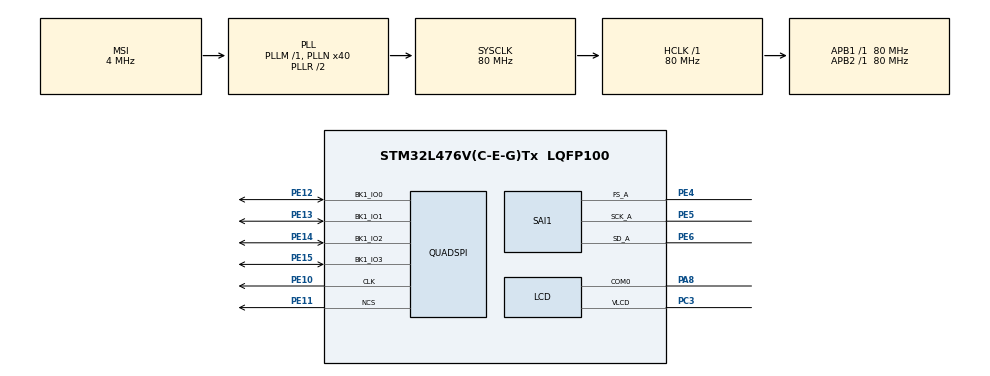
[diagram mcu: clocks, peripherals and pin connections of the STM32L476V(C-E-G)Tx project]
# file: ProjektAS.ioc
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Dma.Request0=SAI1_A
Dma.SAI1_A.0.Direction=DMA_MEMORY_TO_PERIPH
Dma.SAI1_A.0.Instance=DMA2_Channel1
Dma.SAI1_A.0.MemDataAlignment=DMA_MDATAALIGN_HALFWORD
Dma.SAI1_A.0.MemInc=DMA_MINC_ENABLE
Dma.SAI1_A.0.Mode=DMA_CIRCULAR
Dma.SAI1_A.0.PeriphDataAlignment=DMA_PDATAALIGN_HALFWORD
Dma.SAI1_A.0.PeriphInc=DMA_PINC_DISABLE
Dma.SAI1_A.0.Priority=DMA_PRIORITY_HIGH
Mcu.Family=STM32L4
Mcu.Name=STM32L476V(C-E-G)Tx
Mcu.Package=LQFP100
NVIC.DMA2_Channel1_IRQn=true\:0\:0\:false\:false\:true\:false
NVIC.PriorityGroup=NVIC_PRIORITYGROUP_4
PA8.Mode=Static
PA8.Signal=LCD_COM0
PC3.Mode=Static
PC3.Signal=LCD_VLCD
PE10.Mode=Single Bank
PE10.Signal=QUADSPI_CLK
PE11.Mode=Single Bank
PE11.Signal=QUADSPI_NCS
PE12.Mode=Single Bank
PE12.Signal=QUADSPI_BK1_IO0
PE13.Mode=Single Bank
PE13.Signal=QUADSPI_BK1_IO1
PE14.Mode=Single Bank
PE14.Signal=QUADSPI_BK1_IO2
PE15.Mode=Single Bank
PE15.Signal=QUADSPI_BK1_IO3
PE4.Mode=SAI_A_Master
PE4.Signal=SAI1_FS_A
PE5.Mode=SAI_A_Master
PE5.Signal=SAI1_SCK_A
PE6.Mode=SAI_A_Master
PE6.Signal=SAI1_SD_A
ProjectManager.HeapSize=0x200
ProjectManager.StackSize=0x400
ProjectManager.TargetToolchain=TrueSTUDIO
RCC.ADCFreq_Value=48000000
RCC.AHBFreq_Value=80000000
RCC.APB1Freq_Value=80000000
RCC.APB1TimFreq_Value=80000000
RCC.APB2Freq_Value=80000000
RCC.APB2TimFreq_Value=80000000
RCC.CortexFreq_Value=80000000
RCC.HCLKFreq_Value=80000000
RCC.HSE_VALUE=8000000
RCC.HSI_VALUE=16000000
RCC.LSE_VALUE=32768
RCC.MSI_VALUE=4000000
RCC.PLLN=40
RCC.PLLSAI1N=24
RCC.PLLSAI1P=RCC_PLLP_DIV17
RCC.PLLSAI2P=RCC_PLLP_DIV17
RCC.SYSCLKFreq_VALUE=80000000
RCC.SYSCLKSource=RCC_SYSCLKSOURCE_PLLCLK
RCC.USBFreq_Value=48000000
RCC.VCOOutputFreq_Value=160000000
SAI1.Instance-SAI_A_Master=SAI$Index_Block_A
SAI1.MClockEnable-SAI_A_Master=SAI_MASTERCLOCK_DISABLE
SAI1.Synchro-SAI_A_Master=SAI_ASYNCHRONOUS
SAI1.VirtualMode-SAI_A_Master=VM_MASTER
VP_DFSDM1_VS_IN0.Mode=Parallel_Input_ch0
board=ProjektAS

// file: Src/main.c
/**
  ******************************************************************************
  * @file           : main.c
  * @brief          : Main program body
  ******************************************************************************
  ** This notice applies to any and all portions of this file
  * that are not between comment pairs USER CODE BEGIN and
  * USER CODE END. Other portions of this file, whether
  * inserted by the user or by software development tools
  * are owned by their respective copyright owners.
  *
  * COPYRIGHT(c) 2018 STMicroelectronics
  *
  * Redistribution and use in source and binary forms, with or without modification,
  * are permitted provided that the following conditions are met:
  *   1. Redistributions of source code must retain the above copyright notice,
  *      this list of conditions and the following disclaimer.
  *   2. Redistributions in binary form must reproduce the above copyright notice,
  *      this list of conditions and the following disclaimer in the documentation
  *      and/or other materials provided with the distribution.
  *   3. Neither the name of STMicroelectronics nor the names of its contributors
  *      may be used to endorse or promote products derived from this software
  *      without specific prior written permission.
  *
  * THIS SOFTWARE IS PROVIDED BY THE COPYRIGHT HOLDERS AND CONTRIBUTORS "AS IS"
  * AND ANY EXPRESS OR IMPLIED WARRANTIES, INCLUDING, BUT NOT LIMITED TO, THE
  * IMPLIED WARRANTIES OF MERCHANTABILITY AND FITNESS FOR A PARTICULAR PURPOSE ARE
  * DISCLAIMED. IN NO EVENT SHALL THE COPYRIGHT HOLDER OR CONTRIBUTORS BE LIABLE
  * FOR ANY DIRECT, INDIRECT, INCIDENTAL, SPECIAL, EXEMPLARY, OR CONSEQUENTIAL
  * DAMAGES (INCLUDING, BUT NOT LIMITED TO, PROCUREMENT OF SUBSTITUTE GOODS OR
  * SERVICES; LOSS OF USE, DATA, OR PROFITS; OR BUSINESS INTERRUPTION) HOWEVER
  * CAUSED AND ON ANY THEORY OF LIABILITY, WHETHER IN CONTRACT, STRICT LIABILITY,
  * OR TORT (INCLUDING NEGLIGENCE OR OTHERWISE) ARISING IN ANY WAY OUT OF THE USE
  * OF THIS SOFTWARE, EVEN IF ADVISED OF THE POSSIBILITY OF SUCH DAMAGE.
  *
  ******************************************************************************
  */
#include "main.h"
#include "stm32l4xx_hal.h"
#include "dfsdm.h"
#include "dma.h"
#include "lcd.h"
#include "quadspi.h"
#include "sai.h"
#include "gpio.h"

/* USER CODE BEGIN Includes */
#include "stm32l476g_discovery.h"
#include "stm32l476g_discovery_glass_lcd.h"
#include "stm32l476g_discovery_qspi.h"
#include "stm32l476g_discovery_audio.h"

/* USER CODE END Includes */

/* USER CODE BEGIN PV */
//QSPI --------------------------------------------------------------------------------------------------------------------
/* Private variables ---------------------------------------------------------*/
#define BUFFER_SIZE         ((uint32_t)0x0200)
#define WRITE_READ_ADDR     ((uint32_t)0x0050)
#define QSPI_BASE_ADDR      ((uint32_t)0x90000000)
uint8_t qspi_aTxBuffer[BUFFER_SIZE];
uint8_t qspi_aRxBuffer[BUFFER_SIZE];
static void     Fill_Buffer (uint8_t *pBuffer, uint32_t uwBufferLength, uint32_t uwOffset);
static uint8_t  Buffercmp   (uint8_t* pBuffer1, uint8_t* pBuffer2, uint32_t BufferLength);
static void qspi_test();
//AUDIO --------------------------------------------------------------------------------------------------------------------
typedef enum
{
  BUFFER_OFFSET_NONE = 0,
  BUFFER_OFFSET_HALF,
  BUFFER_OFFSET_FULL,
 } Record_buffer_offset_Typedef;

#define RECORD_BUFFER_SIZE (uint32_t)2048
 /* Buffer containing the PCM samples coming from the microphone */
 static uint16_t RecordBuffer[RECORD_BUFFER_SIZE];

 /* Buffer used to stream the recorded PCM samples towards the audio codec. */
 static uint16_t PlaybackBuffer[RECORD_BUFFER_SIZE*2];
 static Record_buffer_offset_Typedef  Record_buffer_offset = BUFFER_OFFSET_NONE;
 /* Audio recorder callback functions */
 static void audio_in_transfer_complete_callback(void);
 static void audio_in_half_transfer_callback(void);
 static void audio_in_error_callback(void);
 static void audio_test(void);
/* USER CODE END PV */

void SystemClock_Config(void);

/* USER CODE BEGIN PFP */
/* Private function prototypes -----------------------------------------------*/

/* USER CODE END PFP */

/* USER CODE BEGIN 0 */

/* Private define ------------------------------------------------------------*/

/* Private macro -------------------------------------------------------------*/
/* Private variables ---------------------------------------------------------*/

/* Information indicating which part of the recorded buffer is ready for audio loopback  */

/* Private function prototypes -----------------------------------------------*/

/* USER CODE END 0 */

int main(void)
{
  /* USER CODE BEGIN 1 */
	/*/////////////////////////////////////////////////////////////////////////////////////////////////////////////////// INFORMACJE!!!
			PRZY PRZEBUDOWYWANIU PROJEKTU W CUBE
			USTAWIC W SystemClock_Config()
				RCC_OscInitStruct.PLL.PLLM = 1;
			ZAKOMENTOWAC W SAI.C ORAZ DFSDM.C "*..MSP_INIT..* ORAZ *..MSP_DEINIT..*
			ZAKOMENTOWAC MX_LCD_INIT(); PRZED MAINEM

	///////////////////////////////////////////////////////////////////////////////////////////////////////////////////*/
  /* USER CODE END 1 */

  /* MCU Configuration----------------------------------------------------------*/

  /* Reset of all peripherals, Initializes the Flash interface and the Systick. */
  HAL_Init();

  /* Configure the system clock */
  SystemClock_Config();

  /* Initialize all configured peripherals */
  MX_GPIO_Init();
  MX_DMA_Init();
 // MX_DFSDM1_Init();
  //MX_SAI1_Init();
  MX_LCD_Init();
  MX_QUADSPI_Init();
  /* USER CODE BEGIN 2 */
  BSP_LCD_GLASS_Init();
  qspi_test();
  HAL_Delay(2000);
  audio_test();
  /* USER CODE END 2 */

  /* Infinite loop */
  while (1)
  {

  /* USER CODE BEGIN 3 */

  }

}
static void Fill_Buffer(uint8_t *pBuffer, uint32_t uwBufferLenght, uint32_t uwOffset)
{
  uint32_t tmpIndex = 0;
  for (tmpIndex = 0; tmpIndex < uwBufferLenght; tmpIndex++ )
    pBuffer[tmpIndex] = tmpIndex + uwOffset;
}

static uint8_t Buffercmp(uint8_t* pBuffer1, uint8_t* pBuffer2, uint32_t BufferLength)
{
  while (BufferLength--)
  {
    if (*pBuffer1 != *pBuffer2)
      return 1;
    pBuffer1++;
    pBuffer2++;
  }
  return 0;
}

void qspi_test(){
	__IO uint8_t *data_ptr;
	uint32_t index;
	BSP_QSPI_Init();
	BSP_QSPI_Erase_Block(WRITE_READ_ADDR);			//wyczysc blok pamieci
	Fill_Buffer(qspi_aTxBuffer, BUFFER_SIZE, 0xD20F);//wypelnij losowa wartoscia
	BSP_QSPI_Write(qspi_aTxBuffer, WRITE_READ_ADDR, BUFFER_SIZE); //wpisz bufor pod wskazany adres
	BSP_QSPI_Read(qspi_aRxBuffer, WRITE_READ_ADDR, BUFFER_SIZE);
	if (Buffercmp(qspi_aRxBuffer, qspi_aTxBuffer, BUFFER_SIZE) > 0)
		BSP_LCD_GLASS_DisplayString("err");
	else
		BSP_LCD_GLASS_DisplayString("OK1");
	BSP_QSPI_EnableMemoryMappedMode();
	for (index = 0, data_ptr = (__IO uint8_t *) (QSPI_BASE_ADDR + WRITE_READ_ADDR); index < BUFFER_SIZE; index++, data_ptr++) {
		if (*data_ptr != qspi_aTxBuffer[index]) {
			BSP_LCD_GLASS_DisplayString("err2");
			break;
		}
	}
	if (index == BUFFER_SIZE)
		BSP_LCD_GLASS_DisplayString("OK2");
}

void audio_test(void)
{
  uint32_t audio_out_start = RESET ;
  uint32_t i;
  Record_buffer_offset = BUFFER_OFFSET_NONE; //ustaw offset

  if (BSP_AUDIO_OUT_Init(OUTPUT_DEVICE_HEADPHONE,  80,  BSP_AUDIO_FREQUENCY_8K) != AUDIO_OK){ //inicjuj audio output
	  BSP_LCD_GLASS_DisplayString("Aerr"); //jezeli blad
	  HAL_Delay(3000);
  }

  BSP_AUDIO_OUT_ChangeAudioConfig(BSP_AUDIO_OUT_CIRCULARMODE|BSP_AUDIO_OUT_STEREOMODE); //ustaw audio circular i tryb stereo

  if (BSP_AUDIO_IN_Init(BSP_AUDIO_FREQUENCY_8K, DEFAULT_AUDIO_IN_BIT_RESOLUTION, DEFAULT_AUDIO_IN_CHANNEL_NBR) != AUDIO_OK){ //inicjuj audio in
	  BSP_LCD_GLASS_DisplayString("Aerr2");	//jezeli blad
	  HAL_Delay(3000);
  }

  BSP_AUDIO_IN_RegisterCallbacks(audio_in_error_callback, audio_in_half_transfer_callback, audio_in_transfer_complete_callback); //ustaw callbacki

  if (BSP_AUDIO_IN_Record(RecordBuffer, RECORD_BUFFER_SIZE) != AUDIO_OK){ //inicjuj audio input
	  BSP_LCD_GLASS_DisplayString("Aerr3"); //jezeli blad
	  HAL_Delay(3000);
  }
  BSP_LCD_GLASS_DisplayString("OK3");
  while (1) //odtwarzaj w petli
  {
    if(Record_buffer_offset != BUFFER_OFFSET_NONE) //kiedy 1sza lub 2ga polowa jest gotowa do skopiowania (callback od record in)
    {
      if(Record_buffer_offset == BUFFER_OFFSET_HALF) //kiedy 1sza polowa jest gotowa do skopiowania
      {
        for(i = 0; i < (RECORD_BUFFER_SIZE/2); i++) //kopiuj jako stereo
        {
          PlaybackBuffer[2*i]     = RecordBuffer[i];
          PlaybackBuffer[(2*i)+1] = PlaybackBuffer[2*i];
        }
        if (audio_out_start == RESET) //1szy raz tutaj - wlacz auido
        {
          if (BSP_AUDIO_OUT_Play(PlaybackBuffer, RECORD_BUFFER_SIZE*2) != AUDIO_OK)
        	  BSP_LCD_GLASS_DisplayString("Aerr4"); //jezeli blad

          audio_out_start = SET;
        }
      }
      else { //jezeli druga polowa bufora jest gotowa
        for(i = (RECORD_BUFFER_SIZE/2); i < RECORD_BUFFER_SIZE; i++) //kopiuj jako stereo
        {
          PlaybackBuffer[2*i]     = RecordBuffer[i];
          PlaybackBuffer[(2*i)+1] = PlaybackBuffer[2*i];
        }
      }
      Record_buffer_offset = BUFFER_OFFSET_NONE; //po przekopiowaniu ustaw znowu flage
    }
  }
}

/**
  * @brief Callback function invoked when half of the PCM samples have been
  *        DM Atransfered from the DFSDM channel.
  * @param  None
  * @retval None
  */
void audio_in_transfer_complete_callback(void)
{

  Record_buffer_offset = BUFFER_OFFSET_FULL;
}

/**
  * @brief Callback function invoked when all the PCM samples have been
  *        DMA transfered from the DFSDM channel.
  * @param  None
  * @retval None
  */
void audio_in_half_transfer_callback(void)
{
  Record_buffer_offset = BUFFER_OFFSET_HALF;
}

/**
  * @brief Callback function invoked when an error occured durint he DMA
  *        transfer of the PCM samples from the DFSDM channel.
  * @param  None
  * @retval None
  */
void audio_in_error_callback(void)
{
  /* Stop the program with an infinite loop */
  Error_Handler();

  /* USER CODE END 3 */

}

void SystemClock_Config(void)
{

  RCC_OscInitTypeDef RCC_OscInitStruct;
  RCC_ClkInitTypeDef RCC_ClkInitStruct;
  RCC_PeriphCLKInitTypeDef PeriphClkInit;

    /**Initializes the CPU, AHB and APB busses clocks
    */
  RCC_OscInitStruct.OscillatorType = RCC_OSCILLATORTYPE_LSI|RCC_OSCILLATORTYPE_MSI;
  RCC_OscInitStruct.LSIState = RCC_LSI_ON;
  RCC_OscInitStruct.MSIState = RCC_MSI_ON;
  RCC_OscInitStruct.MSICalibrationValue = 0;
  RCC_OscInitStruct.MSIClockRange = RCC_MSIRANGE_6;
  RCC_OscInitStruct.PLL.PLLState = RCC_PLL_ON;
  RCC_OscInitStruct.PLL.PLLSource = RCC_PLLSOURCE_MSI;
  RCC_OscInitStruct.PLL.PLLM = 1;
  RCC_OscInitStruct.PLL.PLLN = 40;
  RCC_OscInitStruct.PLL.PLLP = RCC_PLLP_DIV7;
  RCC_OscInitStruct.PLL.PLLQ = RCC_PLLQ_DIV2;
  RCC_OscInitStruct.PLL.PLLR = RCC_PLLR_DIV2;
  if (HAL_RCC_OscConfig(&RCC_OscInitStruct) != HAL_OK)
  {
    _Error_Handler(__FILE__, __LINE__);
  }

    /**Initializes the CPU, AHB and APB busses clocks
    */
  RCC_ClkInitStruct.ClockType = RCC_CLOCKTYPE_HCLK|RCC_CLOCKTYPE_SYSCLK
                              |RCC_CLOCKTYPE_PCLK1|RCC_CLOCKTYPE_PCLK2;
  RCC_ClkInitStruct.SYSCLKSource = RCC_SYSCLKSOURCE_PLLCLK;
  RCC_ClkInitStruct.AHBCLKDivider = RCC_SYSCLK_DIV1;
  RCC_ClkInitStruct.APB1CLKDivider = RCC_HCLK_DIV1;
  RCC_ClkInitStruct.APB2CLKDivider = RCC_HCLK_DIV1;

  if (HAL_RCC_ClockConfig(&RCC_ClkInitStruct, FLASH_LATENCY_4) != HAL_OK)
  {
    _Error_Handler(__FILE__, __LINE__);
  }

  PeriphClkInit.PeriphClockSelection = RCC_PERIPHCLK_RTC|RCC_PERIPHCLK_SAI1
                              |RCC_PERIPHCLK_DFSDM1;
  PeriphClkInit.Sai1ClockSelection = RCC_SAI1CLKSOURCE_PLLSAI1;
  PeriphClkInit.Dfsdm1ClockSelection = RCC_DFSDM1CLKSOURCE_PCLK;
  PeriphClkInit.RTCClockSelection = RCC_RTCCLKSOURCE_LSI;
  PeriphClkInit.PLLSAI1.PLLSAI1Source = RCC_PLLSOURCE_MSI;
  PeriphClkInit.PLLSAI1.PLLSAI1M = 1;
  PeriphClkInit.PLLSAI1.PLLSAI1N = 24;
  PeriphClkInit.PLLSAI1.PLLSAI1P = RCC_PLLP_DIV17;
  PeriphClkInit.PLLSAI1.PLLSAI1Q = RCC_PLLQ_DIV2;
  PeriphClkInit.PLLSAI1.PLLSAI1R = RCC_PLLR_DIV2;
  PeriphClkInit.PLLSAI1.PLLSAI1ClockOut = RCC_PLLSAI1_SAI1CLK;
  if (HAL_RCCEx_PeriphCLKConfig(&PeriphClkInit) != HAL_OK)
  {
    _Error_Handler(__FILE__, __LINE__);
  }

    /**Configure the main internal regulator output voltage
    */
  if (HAL_PWREx_ControlVoltageScaling(PWR_REGULATOR_VOLTAGE_SCALE1) != HAL_OK)
  {
    _Error_Handler(__FILE__, __LINE__);
  }

    /**Configure the Systick interrupt time
    */
  HAL_SYSTICK_Config(HAL_RCC_GetHCLKFreq()/1000);

    /**Configure the Systick
    */
  HAL_SYSTICK_CLKSourceConfig(SYSTICK_CLKSOURCE_HCLK);

  /* SysTick_IRQn interrupt configuration */
  HAL_NVIC_SetPriority(SysTick_IRQn, 0, 0);
}

void _Error_Handler(char *file, int line)
{
  while(1)
  {
  }
}

/************************ (C) COPYRIGHT STMicroelectronics *****END OF FILE****/
